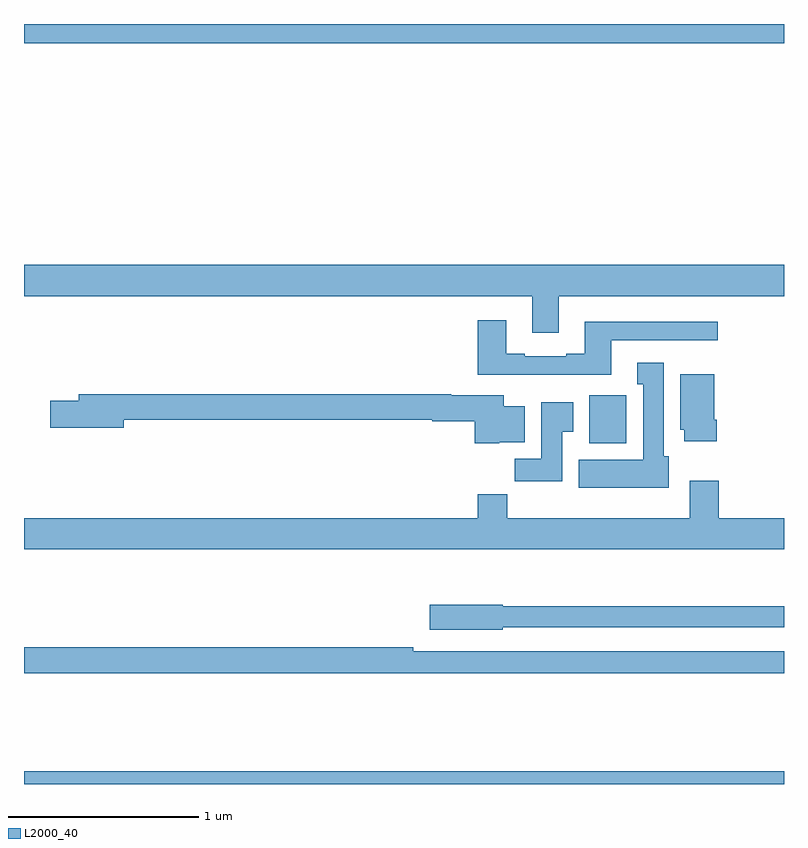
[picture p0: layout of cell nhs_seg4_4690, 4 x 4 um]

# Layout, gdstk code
import gdstk
lib = gdstk.Library(unit=1e-6, precision=1e-09)
def R(c, l, rs):  # rectangles x0, y0, x1, y1
    for r in rs: c.add(gdstk.rectangle(r[:2], r[2:], *l))
def P(c, l, *ps):  # polygons
    for p in ps: c.add(gdstk.Polygon(p, *l))
L2000_40 = (2000, 40)

nhs_seg4_4690 = lib.new_cell('nhs_seg4_4690')
R(nhs_seg4_4690, L2000_40, [(363,812.9,367,812.968), (365.975,814.694,366.171,814.945), (363,816.8,367,816.9)])
P(nhs_seg4_4690, L2000_40, [(365.815,815.468),(367,815.468),(367,815.632),(363,815.632),(363,815.468),(365.675,815.468),(365.675,815.274),(365.815,815.274)],
  [(366.091,815.235),(366.652,815.235),(366.652,815.332),(365.951,815.332),(365.951,815.164),(365.855,815.164),(365.855,815.151),(365.635,815.151),(365.635,815.164),(365.539,815.164),(365.539,815.341),(365.387,815.341),(365.387,815.054),(366.091,815.054)],
  [(366.394,814.626),(366.367,814.626),(366.367,815.116),(366.227,815.116),(366.227,815.003),(366.26,815.003),(366.26,814.606),(365.921,814.606),(365.921,814.46),(366.394,814.46)],
  [(366.647,814.816),(366.634,814.816),(366.634,815.056),(366.455,815.056),(366.455,814.764),(366.476,814.764),(366.476,814.704),(366.647,814.704)],
  [(365.502,814.7),(365.635,814.7),(365.635,814.888),(365.524,814.888),(365.524,814.945),(365.248,814.945),(365.248,814.952),(363.287,814.952),(363.287,814.916),(363.138,814.916),(363.138,814.774),(363.526,814.774),(363.526,814.816),(365.148,814.816),(365.148,814.808),(365.372,814.808),(365.372,814.694),(365.502,814.694)],
  [(365.833,814.753),(365.89,814.753),(365.89,814.909),(365.723,814.909),(365.723,814.612),(365.584,814.612),(365.584,814.494),(365.833,814.494)],
  [(367,814.3),(366.656,814.3),(366.656,814.495),(366.503,814.495),(366.503,814.3),(365.543,814.3),(365.543,814.424),(365.387,814.424),(365.387,814.3),(363,814.3),(363,814.136),(367,814.136)],
  [(365.52,813.726),(367,813.726),(367,813.835),(365.52,813.835),(365.52,813.843),(365.136,813.843),(365.136,813.713),(365.52,813.713)],
  [(367,813.6),(365.048,813.6),(365.048,813.62),(363,813.62),(363,813.484),(367,813.484)])

lib.write_gds('nhs_seg4_4690.gds')
